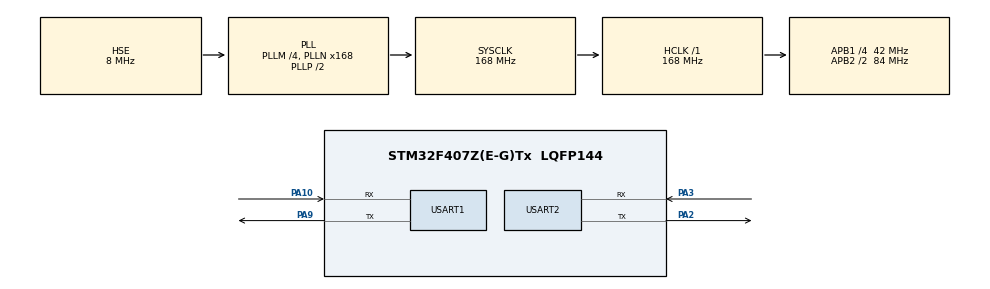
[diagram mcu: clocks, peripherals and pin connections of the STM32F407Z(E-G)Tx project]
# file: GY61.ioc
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Mcu.Family=STM32F4
Mcu.Name=STM32F407Z(E-G)Tx
Mcu.Package=LQFP144
NVIC.PriorityGroup=NVIC_PRIORITYGROUP_4
NVIC.USART1_IRQn=true\:0\:0\:false\:false\:true\:true\:true\:true
NVIC.USART2_IRQn=true\:0\:0\:false\:false\:true\:true\:true\:true
PA10.Mode=Asynchronous
PA10.Signal=USART1_RX
PA13.Mode=Serial_Wire
PA13.Signal=SYS_JTMS-SWDIO
PA14.Mode=Serial_Wire
PA14.Signal=SYS_JTCK-SWCLK
PA2.Mode=Asynchronous
PA2.Signal=USART2_TX
PA3.Mode=Asynchronous
PA3.Signal=USART2_RX
PA9.Mode=Asynchronous
PA9.Signal=USART1_TX
PB8.Signal=I2C1_SCL
PB9.Signal=I2C1_SDA
PC14-OSC32_IN.Mode=LSE-External-Oscillator
PC14-OSC32_IN.Signal=RCC_OSC32_IN
PC15-OSC32_OUT.Mode=LSE-External-Oscillator
PC15-OSC32_OUT.Signal=RCC_OSC32_OUT
PH0-OSC_IN.Mode=HSE-External-Oscillator
PH0-OSC_IN.Signal=RCC_OSC_IN
PH1-OSC_OUT.Mode=HSE-External-Oscillator
PH1-OSC_OUT.Signal=RCC_OSC_OUT
ProjectManager.HeapSize=0x200
ProjectManager.StackSize=0x400
ProjectManager.TargetToolchain=MDK-ARM V5.27
RCC.48MHZClocksFreq_Value=84000000
RCC.AHBFreq_Value=168000000
RCC.APB1CLKDivider=RCC_HCLK_DIV4
RCC.APB1Freq_Value=42000000
RCC.APB1TimFreq_Value=84000000
RCC.APB2CLKDivider=RCC_HCLK_DIV2
RCC.APB2Freq_Value=84000000
RCC.APB2TimFreq_Value=168000000
RCC.CortexFreq_Value=168000000
RCC.HCLKFreq_Value=168000000
RCC.HSE_VALUE=8000000
RCC.HSI_VALUE=16000000
RCC.PLLM=4
RCC.PLLN=168
RCC.PLLSourceVirtual=RCC_PLLSOURCE_HSE
RCC.SYSCLKFreq_VALUE=168000000
RCC.SYSCLKSource=RCC_SYSCLKSOURCE_PLLCLK
RCC.VCOOutputFreq_Value=336000000
USART1.VirtualMode=VM_ASYNC
USART2.VirtualMode=VM_ASYNC
board=custom

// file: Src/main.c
/* USER CODE BEGIN Header */
/**
  ******************************************************************************
  * @file           : main.c
  * @brief          : Main program body
  ******************************************************************************
  * @attention
  *
  * <h2><center>&copy; Copyright (c) 2020 STMicroelectronics.
  * All rights reserved.</center></h2>
  *
  * This software component is licensed by ST under BSD 3-Clause license,
  * the "License"; You may not use this file except in compliance with the
  * License. You may obtain a copy of the License at:
  *                        opensource.org/licenses/BSD-3-Clause
  *
  ******************************************************************************
  */
/* USER CODE END Header */
#include "main.h"
#include "usart.h"
#include "gpio.h"

/* USER CODE BEGIN Includes */
#include "JY61.h"
#include <stdio.h>
#include <string.h>
/* USER CODE END Includes */

/* USER CODE BEGIN PTD */
uint8_t aRxBuffer = 0;		//接收缓冲计数
extern UART_HandleTypeDef huart1; // 假设使用UART1
/* USER CODE END PTD */

void SystemClock_Config(void);

/* USER CODE BEGIN 0 */

void SendAngleData(int16_t angle1, int16_t angle2, int16_t angle3)
{
  char buffer[128];
  const float scale = 180.0f / 32768.0f; // 预计算缩放因子

  // 格式化字符串
  int len = snprintf(buffer, sizeof(buffer), "Angle:%.3f %.3f %.3f\r\n",
                     (float)angle1 * scale,
                     (float)angle2 * scale,
                     (float)angle3 * scale);

  if (len < 0 || len >= sizeof(buffer))
  {
    // 处理格式化错误或缓冲区溢出
    return;
  }

  // 通过串口发送数据
  HAL_UART_Transmit(&huart1, (uint8_t *)buffer, len, HAL_MAX_DELAY);
}

/* USER CODE END 0 */

int main(void)
{

  /* MCU Configuration--------------------------------------------------------*/

  /* Reset of all peripherals, Initializes the Flash interface and the Systick. */
  HAL_Init();

  /* Configure the system clock */
  SystemClock_Config();

  /* Initialize all configured peripherals */
  MX_GPIO_Init();
  MX_USART1_UART_Init();
  MX_USART2_UART_Init();
  /* USER CODE BEGIN 2 */
	HAL_UART_Receive_IT(&huart2, (uint8_t *)&aRxBuffer, 1);
	Send_CMD_Calibration();	//Z轴校准
  /* USER CODE END 2 */

  /* Infinite loop */
  while (1)
  {

    /* USER CODE BEGIN 3 */
    SendAngleData(stcAngle.Angle[0], stcAngle.Angle[1], stcAngle.Angle[2]);
    }
  /* USER CODE END 3 */
}

void SystemClock_Config(void)
{
  RCC_OscInitTypeDef RCC_OscInitStruct = {0};
  RCC_ClkInitTypeDef RCC_ClkInitStruct = {0};

  /** Configure the main internal regulator output voltage
  */
  __HAL_RCC_PWR_CLK_ENABLE();
  __HAL_PWR_VOLTAGESCALING_CONFIG(PWR_REGULATOR_VOLTAGE_SCALE1);

  /** Initializes the RCC Oscillators according to the specified parameters
  * in the RCC_OscInitTypeDef structure.
  */
  RCC_OscInitStruct.OscillatorType = RCC_OSCILLATORTYPE_HSE;
  RCC_OscInitStruct.HSEState = RCC_HSE_ON;
  RCC_OscInitStruct.PLL.PLLState = RCC_PLL_ON;
  RCC_OscInitStruct.PLL.PLLSource = RCC_PLLSOURCE_HSE;
  RCC_OscInitStruct.PLL.PLLM = 4;
  RCC_OscInitStruct.PLL.PLLN = 168;
  RCC_OscInitStruct.PLL.PLLP = RCC_PLLP_DIV2;
  RCC_OscInitStruct.PLL.PLLQ = 4;
  if (HAL_RCC_OscConfig(&RCC_OscInitStruct) != HAL_OK)
  {
    Error_Handler();
  }

  /** Initializes the CPU, AHB and APB buses clocks
  */
  RCC_ClkInitStruct.ClockType = RCC_CLOCKTYPE_HCLK|RCC_CLOCKTYPE_SYSCLK
                              |RCC_CLOCKTYPE_PCLK1|RCC_CLOCKTYPE_PCLK2;
  RCC_ClkInitStruct.SYSCLKSource = RCC_SYSCLKSOURCE_PLLCLK;
  RCC_ClkInitStruct.AHBCLKDivider = RCC_SYSCLK_DIV1;
  RCC_ClkInitStruct.APB1CLKDivider = RCC_HCLK_DIV4;
  RCC_ClkInitStruct.APB2CLKDivider = RCC_HCLK_DIV2;

  if (HAL_RCC_ClockConfig(&RCC_ClkInitStruct, FLASH_LATENCY_5) != HAL_OK)
  {
    Error_Handler();
  }
}

/* USER CODE BEGIN 4 */
void HAL_UART_RxCpltCallback(UART_HandleTypeDef *huart)
{
	UNUSED(huart);
	if(huart==&huart2)
	{
		CopeSerial2Data(aRxBuffer);

		HAL_UART_Receive_IT(&huart2, (uint8_t *)&aRxBuffer, 1);   //再开启接收中断
	}
}
/* USER CODE END 4 */

void Error_Handler(void)
{
}
